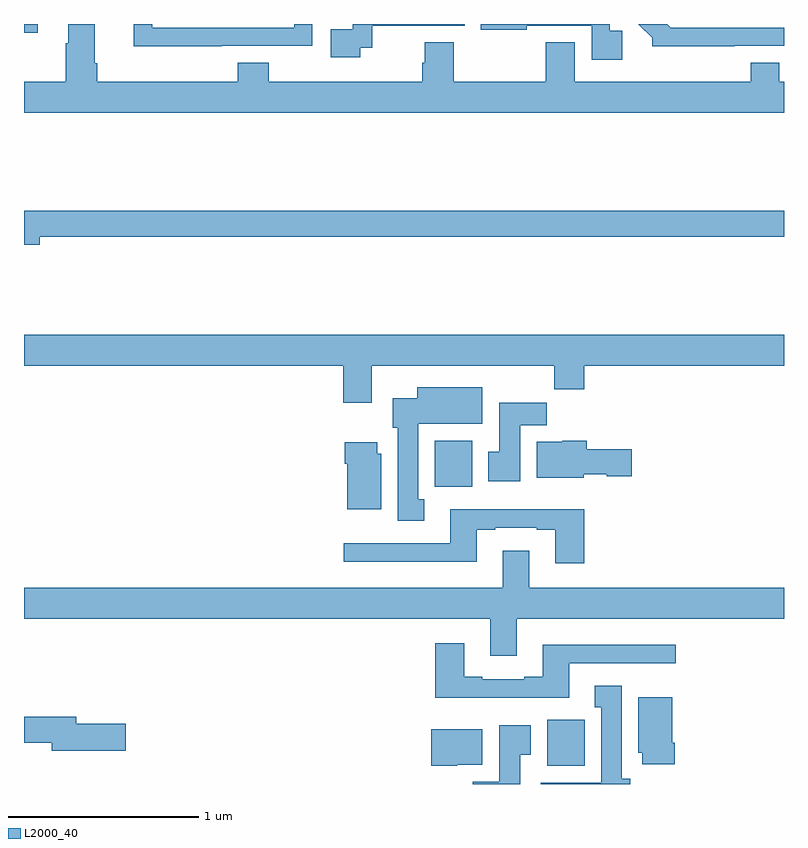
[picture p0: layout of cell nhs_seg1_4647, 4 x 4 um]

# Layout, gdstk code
import gdstk
lib = gdstk.Library(unit=1e-6, precision=1e-09)
def R(c, l, rs):  # rectangles x0, y0, x1, y1
    for r in rs: c.add(gdstk.rectangle(r[:2], r[2:], *l))
def P(c, l, *ps):  # polygons
    for p in ps: c.add(gdstk.Polygon(p, *l))
L2000_40 = (2000, 40)

nhs_seg1_4647 = lib.new_cell('nhs_seg1_4647')
R(nhs_seg1_4647, L2000_40, [(365.753,548.294,365.95,548.536), (365.162,549.764,365.359,550.006), (363,552.153,363.073,552.199)])
P(nhs_seg1_4647, L2000_40, [(364.77,552.075),(364.832,552.075),(364.832,552.189),(365.319,552.189),(365.319,552.199),(364.731,552.199),(364.731,552.171),(364.614,552.171),(364.614,552.024),(364.77,552.024)],
  [(367,551.896),(366.976,551.896),(366.976,551.995),(366.824,551.995),(366.824,551.896),(365.899,551.896),(365.899,552.104),(365.747,552.104),(365.747,551.896),(365.261,551.896),(365.261,552.104),(365.108,552.104),(365.108,551.994),(365.096,551.994),(365.096,551.896),(364.289,551.896),(364.289,551.995),(364.124,551.995),(364.124,551.896),(363.386,551.896),(363.386,551.992),(363.373,551.992),(363.373,552.199),(363.233,552.199),(363.233,552.098),(363.221,552.098),(363.221,551.896),(363,551.896),(363,551.732),(367,551.732)],
  [(366.149,552.163),(366.084,552.163),(366.084,552.199),(365.404,552.199),(365.404,552.17),(365.647,552.17),(365.647,552.189),(365.988,552.189),(365.988,552.012),(366.149,552.012)],
  [(366.74,552.084),(367,552.084),(367,552.18),(366.405,552.18),(366.386,552.199),(366.234,552.199),(366.306,552.127),(366.306,552.083),(366.74,552.083)],
  [(364.04,552.084),(364.518,552.084),(364.518,552.199),(364.422,552.199),(364.422,552.18),(363.675,552.18),(363.675,552.199),(363.578,552.199),(363.578,552.083),(364.04,552.083)],
  [(363.082,551.08),(367,551.08),(367,551.216),(363,551.216),(363,551.038),(363.082,551.038)],
  [(364.831,550.4),(365.791,550.4),(365.791,550.276),(365.948,550.276),(365.948,550.4),(367,550.4),(367,550.564),(363,550.564),(363,550.4),(364.679,550.4),(364.679,550.206),(364.831,550.206)],
  [(365.107,549.698),(365.074,549.698),(365.074,550.094),(365.413,550.094),(365.413,550.288),(365.069,550.288),(365.069,550.228),(364.94,550.228),(364.94,550.074),(364.967,550.074),(364.967,549.585),(365.107,549.585)],
  [(365.611,550.088),(365.75,550.088),(365.75,550.206),(365.501,550.206),(365.501,549.948),(365.444,549.948),(365.444,549.792),(365.611,549.792)],
  [(365.946,549.83),(366.066,549.83),(366.066,549.818),(366.199,549.818),(366.199,549.96),(365.963,549.96),(365.963,550.006),(365.832,550.006),(365.832,550),(365.699,550),(365.699,549.812),(365.946,549.812)],
  [(364.879,549.936),(364.858,549.936),(364.858,549.997),(364.688,549.997),(364.688,549.884),(364.7,549.884),(364.7,549.644),(364.879,549.644)],
  [(365.948,549.646),(365.243,549.646),(365.243,549.465),(364.683,549.465),(364.683,549.368),(365.383,549.368),(365.383,549.537),(365.479,549.537),(365.479,549.549),(365.699,549.549),(365.699,549.537),(365.795,549.537),(365.795,549.36),(365.948,549.36)],
  [(365.593,549.068),(367,549.068),(367,549.232),(365.659,549.232),(365.659,549.427),(365.519,549.427),(365.519,549.232),(363,549.232),(363,549.068),(365.453,549.068),(365.453,548.874),(365.593,548.874)],
  [(365.869,548.835),(366.43,548.835),(366.43,548.932),(365.729,548.932),(365.729,548.764),(365.633,548.764),(365.633,548.751),(365.413,548.751),(365.413,548.764),(365.317,548.764),(365.317,548.941),(365.165,548.941),(365.165,548.654),(365.869,548.654)],
  [(366.19,548.226),(366.145,548.226),(366.145,548.716),(366.005,548.716),(366.005,548.603),(366.038,548.603),(366.038,548.206),(365.721,548.206),(365.721,548.199),(366.19,548.199)],
  [(366.425,548.416),(366.412,548.416),(366.412,548.656),(366.233,548.656),(366.233,548.364),(366.254,548.364),(366.254,548.304),(366.425,548.304)],
  [(363.535,548.516),(363.274,548.516),(363.274,548.552),(363,548.552),(363,548.416),(363.146,548.416),(363.146,548.374),(363.535,548.374)],
  [(365.611,548.353),(365.668,548.353),(365.668,548.509),(365.501,548.509),(365.501,548.212),(365.362,548.212),(365.362,548.199),(365.611,548.199)],
  [(365.28,548.3),(365.413,548.3),(365.413,548.488),(365.144,548.488),(365.144,548.294),(365.28,548.294)])

lib.write_gds('nhs_seg1_4647.gds')
